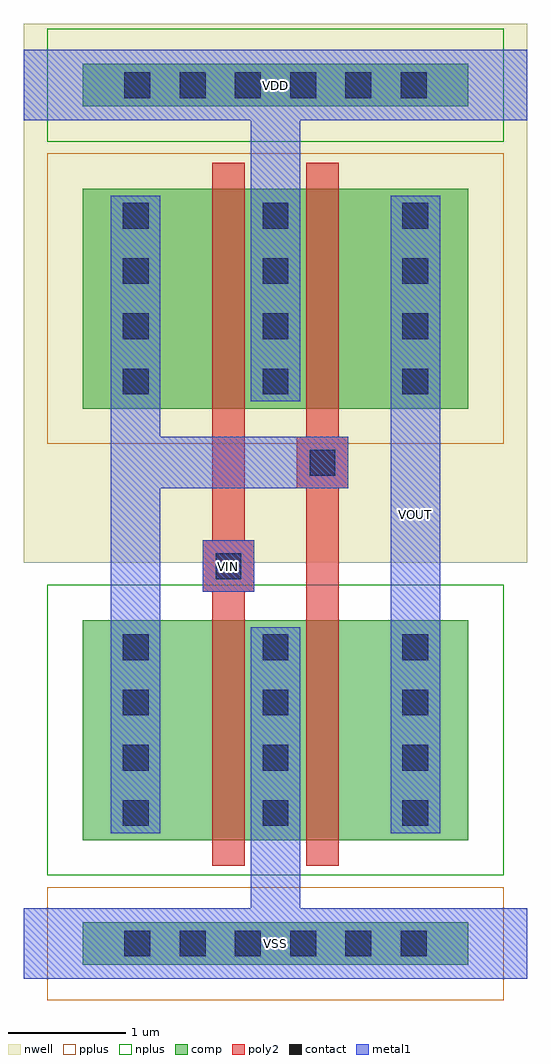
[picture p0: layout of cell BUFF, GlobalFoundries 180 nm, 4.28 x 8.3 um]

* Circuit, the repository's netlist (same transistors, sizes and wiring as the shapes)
** sch_path: /foss/designs/SSCS-Chipathon-2026_ABC123-team/ABC123_SDC/design_data/klayout/BUFF/BUFF.sch
.subckt BUFF VIN VOUT VDD VSS
*.PININFO VIN:I VDD:B VSS:B VOUT:O
M1 MID_BUFF VIN VDD VDD pfet_03v3 L=0.28u W=1.87u nf=1
M2 MID_BUFF VIN VSS VSS nfet_03v3 L=0.28u W=1.87u nf=1
M3 VOUT MID_BUFF VDD VDD pfet_03v3 L=0.28u W=1.87u nf=1
M4 VOUT MID_BUFF VSS VSS nfet_03v3 L=0.28u W=1.87u nf=1
.ends

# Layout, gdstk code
import gdstk
lib = gdstk.Library(unit=1e-6, precision=5e-09)
def R(c, l, rs):  # rectangles x0, y0, x1, y1
    for r in rs: c.add(gdstk.rectangle(r[:2], r[2:], *l))
def A(c, l, x, y, w, h, nx, ny, dx, dy):  # array of equal rectangles
    R(c, l, [(x+i*dx, y+j*dy, x+i*dx+w, y+j*dy+h) for i in range(nx) for j in range(ny)])
nwell = (21, 0)
comp = (22, 0)
poly2 = (30, 0)
pplus = (31, 0)
nplus = (32, 0)
contact = (33, 0)
metal1 = (34, 0)

buff = lib.new_cell('BUFF')
R(buff, nwell, [(-0.5,3.58,3.78,8.16)])
R(buff, comp, [(0,0.16,3.28,0.52), (0,1.22,3.28,3.09), (0,4.89,3.28,6.76), (0,7.46,3.28,7.82)])
R(buff, poly2, [(1.1,1,1.38,6.98), (1.9,1,2.18,6.98), (1.02,3.33,1.46,3.77), (1.82,4.21,2.26,4.65)])
R(buff, pplus, [(-0.3,-0.14,3.58,0.82), (-0.3,4.59,3.58,7.06)])
R(buff, nplus, [(-0.3,0.92,3.58,3.39), (-0.3,7.16,3.58,8.12)])
A(buff, contact, 0.355, 0.23, 0.22, 0.22, 6, 2, 0.47, 7.3)
A(buff, contact, 0.34, 1.34, 0.22, 0.22, 1, 4, 0, 0.47)
A(buff, contact, 0.34, 1.34, 0.22, 0.22, 3, 4, 1.19, 0.47)
A(buff, contact, 0.34, 5.01, 0.22, 0.22, 1, 4, 0, 0.47)
A(buff, contact, 0.34, 5.01, 0.22, 0.22, 3, 4, 1.19, 0.47)
R(buff, contact, [(1.13,3.44,1.35,3.66), (1.93,4.32,2.15,4.54)])
R(buff, metal1, [(-0.5,0.04,3.78,0.64), (1.43,0.34,1.85,3.03), (0.24,1.28,0.66,6.7), (2.62,1.28,3.04,6.7), (1.02,3.33,1.46,3.77), (0.24,4.21,2.26,4.65), (1.82,4.21,2.26,4.65), (1.43,4.95,1.85,7.64), (-0.5,7.34,3.78,7.94)])
buff.add(gdstk.Label('VIN', (1.24,3.55), layer=34, texttype=10))
buff.add(gdstk.Label('VOUT', (2.83,3.99), layer=34, texttype=10))
buff.add(gdstk.Label('VSS', (1.64,0.34), layer=34, texttype=10))
buff.add(gdstk.Label('VDD', (1.64,7.64), layer=34, texttype=10))

lib.write_gds('BUFF.gds')
